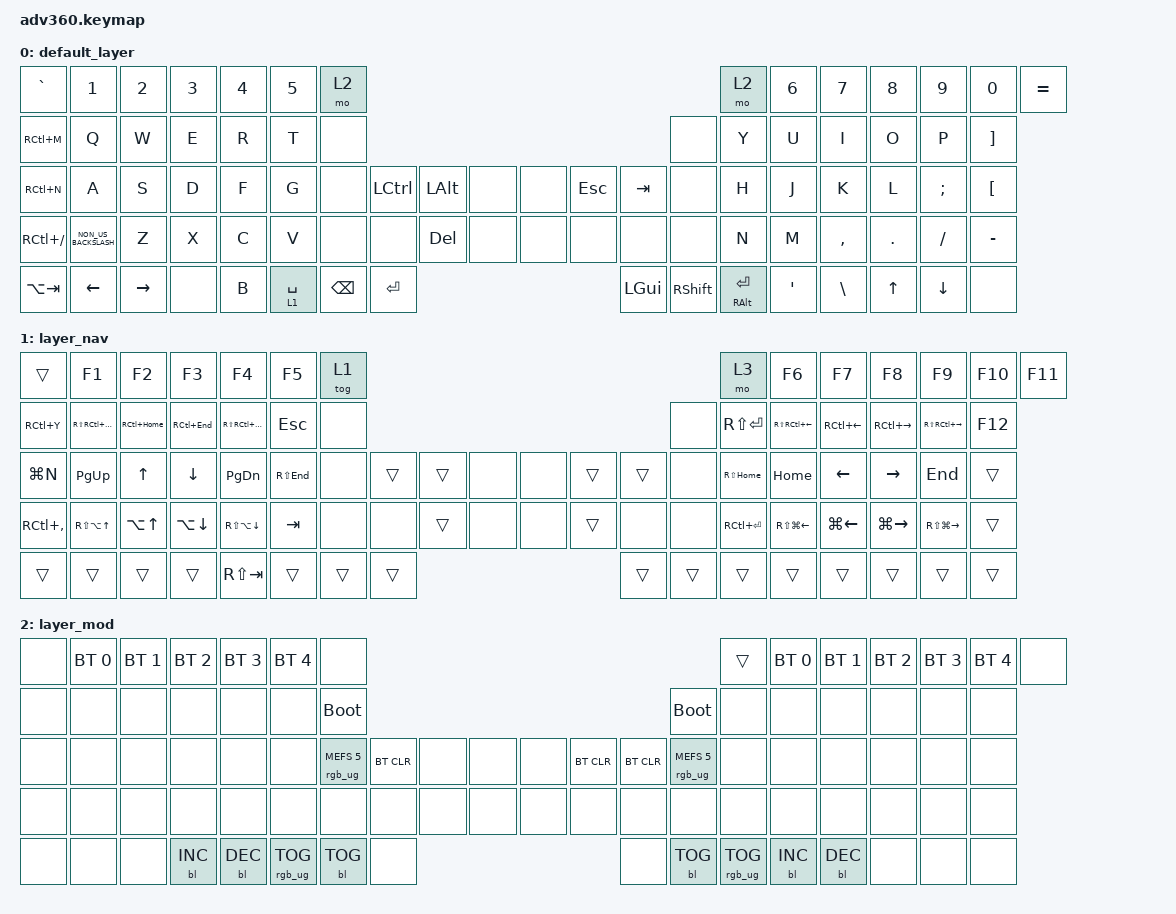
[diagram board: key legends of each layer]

/*
 * Copyright (c) 2020 The ZMK Contributors
 *
 * SPDX-License-Identifier: MIT
 */


/* THIS FILE WAS GENERATED!
 *
 * This file was generated automatically. You may or may not want to
 * edit it directly.
 */

#include <behaviors.dtsi>
#include <dt-bindings/zmk/keys.h>
#include <dt-bindings/zmk/bt.h>
#include <dt-bindings/zmk/rgb.h>
#include <dt-bindings/zmk/backlight.h>

/ {
  behaviors {
    #include "macros.dtsi"

    hm: homerow_mods {
        compatible = "zmk,behavior-hold-tap";
        label = "HOMEROW_MODS";
        #binding-cells = <2>;
        tapping-term-ms = <200>;
        quick_tap_ms = <175>;
        flavor = "tap-preferred";
        bindings = <&kp>, <&kp>;
    };
  };

    keymap {
        compatible = "zmk,keymap";


        default_layer {
            bindings = <
     &kp GRAVE                &kp N1     &kp N2  &kp N3  &kp N4  &kp N5                  &mo 2                                                                                    &mo 2  &kp N6          &kp N7         &kp N8   &kp N9    &kp N0          &kp EQUAL
     &kp RC(M)                 &kp Q      &kp W   &kp E   &kp R   &kp T                  &none                                                                                    &none   &kp Y           &kp U          &kp I    &kp O     &kp P  &kp RIGHT_BRACKET
     &kp RC(N)                 &kp A      &kp S   &kp D   &kp F   &kp G                  &none      &kp LCTRL   &kp LALT   &none   &none    &kp ESCAPE          &kp TAB           &none   &kp H           &kp J          &kp K    &kp L  &kp SEMI   &kp LEFT_BRACKET
 &kp RC(SLASH)  &kp NON_US_BACKSLASH      &kp Z   &kp X   &kp C   &kp V                  &none          &none    &kp DEL   &none   &none         &none            &none           &none   &kp N           &kp M      &kp COMMA  &kp DOT  &kp FSLH          &kp MINUS
   &kp LA(TAB)              &kp LEFT  &kp RIGHT   &none   &kp B                    &lt 1 SPACE  &kp BACKSPACE  &kp ENTER                  &kp LEFT_GUI  &kp RIGHT_SHIFT  &mt RALT ENTER          &kp APOSTROPHE  &kp BACKSLASH   &kp UP  &kp DOWN              &none
            >;
        };

        layer_nav {
            bindings = <
        &trans           &kp F1        &kp F2        &kp F3            &kp F4       &kp F5            &tog 1                                                   &mo 3         &kp F6            &kp F7        &kp F8         &kp F9            &kp F10  &kp F11
     &kp RC(Y)  &kp RS(RC(END))  &kp RC(HOME)   &kp RC(END)   &kp RS(RC(END))      &kp ESC             &none                                                   &none  &kp RS(ENTER)  &kp RS(RC(LEFT))  &kp RC(LEFT)  &kp RC(RIGHT)  &kp RS(RC(RIGHT))  &kp F12
     &kp LG(N)      &kp PAGE_UP        &kp UP      &kp DOWN     &kp PAGE_DOWN  &kp RS(END)             &none  &trans  &trans   &none   &none  &trans  &trans   &none   &kp RS(HOME)          &kp HOME      &kp LEFT      &kp RIGHT            &kp END   &trans
 &kp RC(COMMA)   &kp RS(LA(UP))    &kp LA(UP)  &kp LA(DOWN)  &kp RS(LA(DOWN))      &kp TAB             &none   &none  &trans   &none   &none  &trans   &none   &none  &kp RC(ENTER)  &kp RS(LG(LEFT))  &kp LG(LEFT)  &kp LG(RIGHT)  &kp RS(LG(RIGHT))   &trans
        &trans           &trans        &trans        &trans       &kp RS(TAB)                         &trans  &trans  &trans                  &trans  &trans  &trans                           &trans        &trans         &trans             &trans   &trans
            >;
        };

        layer_mod {
            bindings = <
  &none  &bt BT_SEL 0  &bt BT_SEL 1  &bt BT_SEL 2  &bt BT_SEL 3  &bt BT_SEL 4                             &none                                                                              &trans  &bt BT_SEL 0  &bt BT_SEL 1  &bt BT_SEL 2  &bt BT_SEL 3  &bt BT_SEL 4   &none
  &none         &none         &none         &none         &none         &none                       &bootloader                                                                         &bootloader         &none         &none         &none         &none         &none   &none
  &none         &none         &none         &none         &none         &none            &rgb_ug RGB_MEFS_CMD 5  &bt BT_CLR   &none   &none   &none  &bt BT_CLR  &bt BT_CLR  &rgb_ug RGB_MEFS_CMD 5         &none         &none         &none         &none         &none   &none
  &none         &none         &none         &none         &none         &none                             &none       &none   &none   &none   &none       &none       &none                   &none         &none         &none         &none         &none         &none   &none
  &none         &none         &none    &bl BL_INC    &bl BL_DEC                                 &rgb_ug RGB_TOG  &bl BL_TOG   &none                       &none  &bl BL_TOG         &rgb_ug RGB_TOG                  &bl BL_INC    &bl BL_DEC         &none         &none   &none
            >;
        };

    };
};
